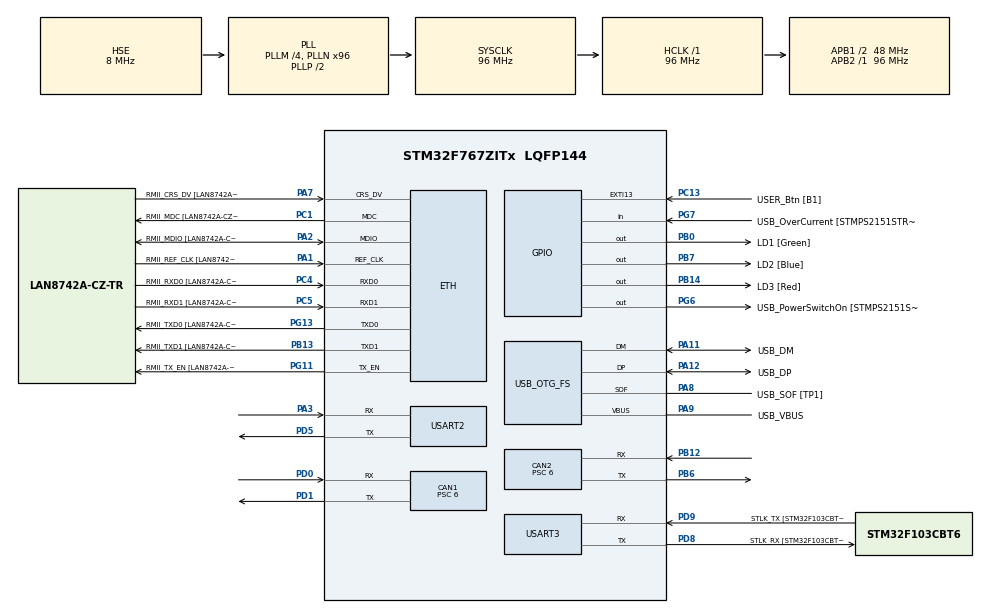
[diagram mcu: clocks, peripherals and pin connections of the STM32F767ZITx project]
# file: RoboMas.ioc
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CAN1.BS1=CAN_BS1_6TQ
CAN1.CalculateBaudRate=1000000
CAN1.CalculateTimeBit=1000
CAN1.CalculateTimeQuantum=125.0
CAN1.Prescaler=6
CAN1.TXFP=ENABLE
CAN2.BS1=CAN_BS1_6TQ
CAN2.CalculateBaudRate=1000000
CAN2.CalculateTimeBit=1000
CAN2.CalculateTimeQuantum=125.0
CAN2.Prescaler=6
CAN2.TXFP=ENABLE
Dma.Request0=USART3_RX
Dma.Request1=USART3_TX
Dma.Request2=USART2_TX
Dma.USART2_TX.2.Direction=DMA_MEMORY_TO_PERIPH
Dma.USART2_TX.2.FIFOMode=DMA_FIFOMODE_DISABLE
Dma.USART2_TX.2.Instance=DMA1_Stream6
Dma.USART2_TX.2.MemDataAlignment=DMA_MDATAALIGN_BYTE
Dma.USART2_TX.2.MemInc=DMA_MINC_ENABLE
Dma.USART2_TX.2.Mode=DMA_NORMAL
Dma.USART2_TX.2.PeriphDataAlignment=DMA_PDATAALIGN_BYTE
Dma.USART2_TX.2.PeriphInc=DMA_PINC_DISABLE
Dma.USART2_TX.2.Priority=DMA_PRIORITY_LOW
Dma.USART3_RX.0.Direction=DMA_PERIPH_TO_MEMORY
Dma.USART3_RX.0.FIFOMode=DMA_FIFOMODE_DISABLE
Dma.USART3_RX.0.Instance=DMA1_Stream1
Dma.USART3_RX.0.MemDataAlignment=DMA_MDATAALIGN_BYTE
Dma.USART3_RX.0.MemInc=DMA_MINC_ENABLE
Dma.USART3_RX.0.Mode=DMA_CIRCULAR
Dma.USART3_RX.0.PeriphDataAlignment=DMA_PDATAALIGN_BYTE
Dma.USART3_RX.0.PeriphInc=DMA_PINC_DISABLE
Dma.USART3_RX.0.Priority=DMA_PRIORITY_VERY_HIGH
Dma.USART3_TX.1.Direction=DMA_MEMORY_TO_PERIPH
Dma.USART3_TX.1.FIFOMode=DMA_FIFOMODE_DISABLE
Dma.USART3_TX.1.Instance=DMA1_Stream3
Dma.USART3_TX.1.MemDataAlignment=DMA_MDATAALIGN_BYTE
Dma.USART3_TX.1.MemInc=DMA_MINC_ENABLE
Dma.USART3_TX.1.Mode=DMA_NORMAL
Dma.USART3_TX.1.PeriphDataAlignment=DMA_PDATAALIGN_BYTE
Dma.USART3_TX.1.PeriphInc=DMA_PINC_DISABLE
Dma.USART3_TX.1.Priority=DMA_PRIORITY_VERY_HIGH
ETH.MediaInterface=HAL_ETH_RMII_MODE
ETH.PHY_Name=LAN8742A_PHY_ADDRESS
ETH.PHY_Value=0
ETH.PhyAddress=0
FREERTOS.Tasks01=defaultTask,24,3000,StartDefaultTask,Default,NULL,Static,defaultTaskBuffer,defaultTaskControlBlock;LEDTask,8,128,StartLEDTask,Default,NULL,Static,LEDTaskBuffer,LEDTaskControlBlock
FREERTOS.Timers01=Timer01,Callback01,osTimerPeriodic,Default,NULL,Static,Timer01ControlBlock
Mcu.Family=STM32F7
Mcu.Name=STM32F767ZITx
Mcu.Package=LQFP144
NVIC.CAN1_RX0_IRQn=true\:5\:0\:false\:false\:true\:true\:true\:true\:true
NVIC.CAN1_RX1_IRQn=true\:5\:0\:false\:false\:true\:true\:true\:true\:true
NVIC.CAN1_TX_IRQn=true\:5\:0\:false\:false\:true\:true\:true\:true\:true
NVIC.CAN2_RX0_IRQn=true\:5\:0\:false\:false\:true\:true\:true\:true\:true
NVIC.CAN2_RX1_IRQn=true\:5\:0\:false\:false\:true\:true\:true\:true\:true
NVIC.CAN2_TX_IRQn=true\:5\:0\:false\:false\:true\:true\:true\:true\:true
NVIC.DMA1_Stream1_IRQn=true\:5\:0\:false\:false\:true\:true\:false\:true\:true
NVIC.DMA1_Stream3_IRQn=true\:5\:0\:false\:false\:true\:true\:false\:true\:true
NVIC.DMA1_Stream6_IRQn=true\:5\:0\:false\:false\:true\:true\:false\:true\:true
NVIC.OTG_FS_IRQn=true\:5\:0\:false\:false\:true\:true\:false\:true\:true
NVIC.PriorityGroup=NVIC_PRIORITYGROUP_4
NVIC.TIM1_UP_TIM10_IRQn=true\:15\:0\:false\:false\:true\:false\:false\:true\:true
NVIC.TimeBase=TIM1_UP_TIM10_IRQn
NVIC.TimeBaseIP=TIM1
NVIC.USART2_IRQn=true\:5\:0\:false\:false\:true\:true\:true\:true\:true
NVIC.USART3_IRQn=true\:5\:0\:false\:false\:true\:true\:true\:true\:true
PA1.GPIO_Label=RMII_REF_CLK [LAN8742A-CZ-TR_REFCLK0]
PA1.Mode=RMII
PA1.Signal=ETH_REF_CLK
PA10.GPIO_Label=USB_ID
PA10.Signal=USB_OTG_FS_ID
PA11.GPIO_Label=USB_DM
PA11.Mode=Device_Only
PA11.Signal=USB_OTG_FS_DM
PA12.GPIO_Label=USB_DP
PA12.Mode=Device_Only
PA12.Signal=USB_OTG_FS_DP
PA13.GPIO_Label=TMS
PA13.Mode=Serial_Wire
PA13.Signal=SYS_JTMS-SWDIO
PA14.GPIO_Label=TCK
PA14.Mode=Serial_Wire
PA14.Signal=SYS_JTCK-SWCLK
PA2.GPIO_Label=RMII_MDIO [LAN8742A-CZ-TR_MDIO]
PA2.Mode=RMII
PA2.Signal=ETH_MDIO
PA3.Mode=Asynchronous
PA3.Signal=USART2_RX
PA7.GPIO_Label=RMII_CRS_DV [LAN8742A-CZ-TR_CRS_DV]
PA7.Mode=RMII
PA7.Signal=ETH_CRS_DV
PA8.GPIO_Label=USB_SOF [TP1]
PA8.Mode=Activate_SOF_FS
PA8.Signal=USB_OTG_FS_SOF
PA9.GPIO_Label=USB_VBUS
PA9.Mode=Activate_VBUS
PA9.Signal=USB_OTG_FS_VBUS
PB0.GPIO_Label=LD1 [Green]
PB0.Signal=GPIO_Output
PB12.Mode=CAN_Activate
PB12.Signal=CAN2_RX
PB13.GPIO_Label=RMII_TXD1 [LAN8742A-CZ-TR_TXD1]
PB13.Mode=RMII
PB13.Signal=ETH_TXD1
PB14.GPIO_Label=LD3 [Red]
PB14.Signal=GPIO_Output
PB3.GPIO_Label=SWO
PB3.Signal=SYS_JTDO-SWO
PB6.Mode=CAN_Activate
PB6.Signal=CAN2_TX
PB7.GPIO_Label=LD2 [Blue]
PB7.Signal=GPIO_Output
PC1.GPIO_Label=RMII_MDC [LAN8742A-CZ-TR_MDC]
PC1.Mode=RMII
PC1.Signal=ETH_MDC
PC13.GPIO_Label=USER_Btn [B1]
PC13.Signal=GPXTI13
PC14/OSC32_IN.Mode=LSE-External-Oscillator
PC14/OSC32_IN.Signal=RCC_OSC32_IN
PC15/OSC32_OUT.Mode=LSE-External-Oscillator
PC15/OSC32_OUT.Signal=RCC_OSC32_OUT
PC4.GPIO_Label=RMII_RXD0 [LAN8742A-CZ-TR_RXD0]
PC4.Mode=RMII
PC4.Signal=ETH_RXD0
PC5.GPIO_Label=RMII_RXD1 [LAN8742A-CZ-TR_RXD1]
PC5.Mode=RMII
PC5.Signal=ETH_RXD1
PD0.Mode=CAN_Activate
PD0.Signal=CAN1_RX
PD1.Mode=CAN_Activate
PD1.Signal=CAN1_TX
PD5.Mode=Asynchronous
PD5.Signal=USART2_TX
PD8.GPIO_Label=STLK_RX [STM32F103CBT6_PA3]
PD8.Mode=Asynchronous
PD8.Signal=USART3_TX
PD9.GPIO_Label=STLK_TX [STM32F103CBT6_PA2]
PD9.Mode=Asynchronous
PD9.Signal=USART3_RX
PG11.GPIO_Label=RMII_TX_EN [LAN8742A-CZ-TR_TXEN]
PG11.Mode=RMII
PG11.Signal=ETH_TX_EN
PG13.GPIO_Label=RMII_TXD0 [LAN8742A-CZ-TR_TXD0]
PG13.Mode=RMII
PG13.Signal=ETH_TXD0
PG6.GPIO_Label=USB_PowerSwitchOn [STMPS2151STR_EN]
PG6.Signal=GPIO_Output
PG7.GPIO_Label=USB_OverCurrent [STMPS2151STR_FAULT]
PG7.Signal=GPIO_Input
PH0/OSC_IN.GPIO_Label=MCO [STM32F103CBT6_PA8]
PH0/OSC_IN.Mode=HSE-External-Oscillator
PH0/OSC_IN.Signal=RCC_OSC_IN
PH1/OSC_OUT.Mode=HSE-External-Oscillator
PH1/OSC_OUT.Signal=RCC_OSC_OUT
ProjectManager.HeapSize=0x200
ProjectManager.StackSize=0x400
ProjectManager.TargetToolchain=STM32CubeIDE
RCC.48MHZClocksFreq_Value=24000000
RCC.AHBFreq_Value=96000000
RCC.APB1CLKDivider=RCC_HCLK_DIV2
RCC.APB1Freq_Value=48000000
RCC.APB1TimFreq_Value=96000000
RCC.APB2Freq_Value=96000000
RCC.APB2TimFreq_Value=96000000
RCC.CortexFreq_Value=96000000
RCC.HCLKFreq_Value=96000000
RCC.HSE_VALUE=8000000
RCC.HSI_VALUE=16000000
RCC.PLLM=4
RCC.PLLMUL=RCC_PLL_MUL9
RCC.PLLN=96
RCC.PLLQ=4
RCC.PRESCALERUSB=RCC_USBCLKSOURCE_PLL_DIV1_5
RCC.SYSCLKFreq_VALUE=96000000
RCC.SYSCLKSource=RCC_SYSCLKSOURCE_PLLCLK
RCC.SYSCLKSourceVirtual=RCC_SYSCLKSOURCE_PLLCLK
RCC.USBFreq_Value=48000000
RCC.VCOOutputFreq_Value=192000000
USART2.VirtualMode-Asynchronous=VM_ASYNC
USART3.VirtualMode-Asynchronous=VM_ASYNC
USB_DEVICE.CLASS_NAME_FS=CDC
USB_DEVICE.VirtualMode-CDC_FS=Cdc
USB_DEVICE.VirtualModeFS=Cdc_FS
USB_OTG_FS.VirtualMode=Device_Only
VP_FREERTOS_VS_CMSIS_V2.Mode=CMSIS_V2
VP_SYS_VS_tim1.Mode=TIM1
VP_USB_DEVICE_VS_USB_DEVICE_CDC_FS.Mode=CDC_FS
board=NUCLEO-F767ZI

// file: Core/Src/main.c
/* USER CODE BEGIN Header */
/**
  ******************************************************************************
  * @file           : main.c
  * @brief          : Main program body
  ******************************************************************************
  * @attention
  *
  * Copyright (c) 2023 STMicroelectronics.
  * All rights reserved.
  *
  * This software is licensed under terms that can be found in the LICENSE file
  * in the root directory of this software component.
  * If no LICENSE file comes with this software, it is provided AS-IS.
  *
  ******************************************************************************
  */
/* USER CODE END Header */
#include "main.h"
#include "cmsis_os.h"
#include "can.h"
#include "dma.h"
#include "eth.h"
#include "usart.h"
#include "usb_device.h"
#include "gpio.h"

/* USER CODE BEGIN Includes */
#include <rmw_microros/rmw_microros.h>
#include "can_utils.h"
#include "stdio.h"
/* USER CODE END Includes */

/* USER CODE BEGIN PD */
#define DISABLE_CAN_WAIT_CONNECT 0
#define DISABLE_C620_WAIT_CONNECT 0
/* USER CODE END PD */

void SystemClock_Config(void);
void MX_FREERTOS_Init(void);
/* USER CODE BEGIN PFP */
void SystemClock_Config(void);
void MX_FREERTOS_Init(void);
/* USER CODE BEGIN PFP */
#ifdef __GNUC__
#define PUTCHAR_PROTOTYPE int __io_putchar(uint8_t ch)
#else
#define PUTCHAR_PROTOTYPE int fputc(int ch, FILE *f)
#endif /* __GNUC__ */

PUTCHAR_PROTOTYPE {
    HAL_UART_Transmit(&huart2, &ch, 1, 500);
    return ch;
}

void HAL_CAN_TxMailbox0CompleteCallback(CAN_HandleTypeDef *hcan){
    C620_WhenTxMailboxCompleteCallbackCalled(hcan);
    CANLib_WhenTxMailbox0_1_2CompleteCallbackCalled(hcan);
}

void HAL_CAN_TxMailbox0AbortCallback(CAN_HandleTypeDef *hcan){
    C620_WhenTxMailboxAbortCallbackCalled(hcan);
    CANLib_WhenTxMailbox0_1_2AbortCallbackCalled(hcan);
}

void HAL_CAN_TxMailbox1CompleteCallback(CAN_HandleTypeDef *hcan){
    C620_WhenTxMailboxCompleteCallbackCalled(hcan);
    CANLib_WhenTxMailbox0_1_2CompleteCallbackCalled(hcan);
}

void HAL_CAN_TxMailbox1AbortCallback(CAN_HandleTypeDef *hcan){
    C620_WhenTxMailboxAbortCallbackCalled(hcan);
    CANLib_WhenTxMailbox0_1_2AbortCallbackCalled(hcan);
}

void HAL_CAN_TxMailbox2CompleteCallback(CAN_HandleTypeDef *hcan){
    C620_WhenTxMailboxCompleteCallbackCalled(hcan);
    CANLib_WhenTxMailbox0_1_2CompleteCallbackCalled(hcan);
}

void HAL_CAN_TxMailbox2AbortCallback(CAN_HandleTypeDef *hcan){
    C620_WhenTxMailboxAbortCallbackCalled(hcan);
    CANLib_WhenTxMailbox0_1_2AbortCallbackCalled(hcan);
}

void HAL_CAN_RxFifo0MsgPendingCallback(CAN_HandleTypeDef *hcan){
    WhenCANRxFifo0MsgPending(hcan, &num_of_devices);
}

void HAL_CAN_RxFifo1MsgPendingCallback(CAN_HandleTypeDef *hcan){
    C620_WhenCANRxFifo1MsgPending(hcan);
}
/* USER CODE END PFP */

int main(void)
{

  /* MCU Configuration--------------------------------------------------------*/

  /* Reset of all peripherals, Initializes the Flash interface and the Systick. */
  HAL_Init();

  /* Configure the system clock */
  SystemClock_Config();

  /* Initialize all configured peripherals */
  MX_GPIO_Init();
  MX_DMA_Init();
  MX_USART3_UART_Init();
  MX_ETH_Init();
  MX_CAN1_Init();
  MX_CAN2_Init();
  MX_USART2_UART_Init();
  /* USER CODE BEGIN 2 */
  setbuf(stdout, NULL);
  setbuf(stderr, NULL);

  /*
    * ===== CANLib Settings =====
    * */
   HAL_GPIO_TogglePin(GPIOB, GPIO_PIN_14);  // LD3 (RED) ON
   printf("Start Initializing CAN System:Begin\n\r");

   num_of_devices.mcmd3 = NUM_OF_MCMD3; //0
//   num_of_devices.mcmd4 = 0;
   num_of_devices.mcmd4 = NUM_OF_MCMD4;  // TODO: こっちが正しい -> 0
   num_of_devices.air = 1;  // TODO: 1にする

   CAN_SystemInit(&hcan2); // F7のCAN通信のinit
   printf("Start Initializing CAN System:End\n\r");
   if(!DISABLE_CAN_WAIT_CONNECT)CAN_WaitConnect(&num_of_devices);
   HAL_GPIO_TogglePin(GPIOB, GPIO_PIN_7);  // LD2 (Blue) ON

//
// MCMDは2搭載
//
   if(NUM_OF_MCMD3 != 0) {
       // 発射1
       mcmd_handlers[0].device.node_type = NODE_MCMD3;
       mcmd_handlers[0].device.node_id = 1;
       mcmd_handlers[0].device.device_num = 0;
       mcmd_handlers[0].ctrl_param.ctrl_type = MCMD_CTRL_VEL;
       mcmd_handlers[0].ctrl_param.feedback = MCMD_FB_ENABLE;
       mcmd_handlers[0].fb_type = MCMD_FB_POS;
       mcmd_handlers[0].limit_sw_type = LIMIT_SW_NO;
       mcmd_handlers[0].enc_dir = MCMD_DIR_FW;
       mcmd_handlers[0].rot_dir = MCMD_DIR_FW;
       mcmd_handlers[0].calib = CALIBRATION_DISABLE;
       mcmd_handlers[0].ctrl_param.gravity_compensation = GRAVITY_COMPENSATION_DISABLE;
       mcmd_handlers[0].calib_duty = -0.6f;
       mcmd_handlers[0].quant_per_unit = 90.0f / 1024.0f;
       mcmd_handlers[0].ctrl_param.accel_limit = ACCEL_LIMIT_ENABLE;
       mcmd_handlers[0].ctrl_param.accel_limit_size = 5.0f;
       mcmd_handlers[0].ctrl_param.PID_param.kp = 0.12f;

       MCMD_init(&mcmd_handlers[0]);
//       MCMD_Calib(&mcmd_handlers[0]);  // キャリブレーションを行う
//       HAL_Delay(3000);
       MCMD_SetTarget(&mcmd_handlers[0], 0.0f);  // 目標値(0.0)を設定
       // TODO: 稼働限界は226mm
       MCMD_Control_Enable(&mcmd_handlers[0]);  // 制御開始

       //発射2
       mcmd_handlers[1].device.node_type = NODE_MCMD3;
       mcmd_handlers[1].device.node_id = 1;
       mcmd_handlers[1].device.device_num = 1;
       mcmd_handlers[1].ctrl_param.ctrl_type = MCMD_CTRL_VEL;
       mcmd_handlers[1].ctrl_param.feedback = MCMD_FB_ENABLE;
       mcmd_handlers[1].fb_type = MCMD_FB_POS;
       mcmd_handlers[1].limit_sw_type = LIMIT_SW_NO;
       mcmd_handlers[1].enc_dir = MCMD_DIR_FW;
       mcmd_handlers[1].rot_dir = MCMD_DIR_FW;
       mcmd_handlers[1].calib = CALIBRATION_DISABLE;
       mcmd_handlers[1].ctrl_param.gravity_compensation = GRAVITY_COMPENSATION_DISABLE;
       mcmd_handlers[1].calib_duty = -0.6f;
       mcmd_handlers[1].quant_per_unit = 90.0f / 1024.0f;
       mcmd_handlers[1].ctrl_param.accel_limit = ACCEL_LIMIT_ENABLE;
       mcmd_handlers[1].ctrl_param.accel_limit_size = 5.0f;
       mcmd_handlers[1].ctrl_param.PID_param.kp = 0.12f;

       MCMD_init(&mcmd_handlers[1]);
//       MCMD_Calib(&mcmd_handlers[1]);  // キャリブレーションを行う
//       HAL_Delay(3000);
       MCMD_SetTarget(&mcmd_handlers[1], 0.0f);  // 目標値(0.0)を設定
       // TODO: 稼働限界は226mm
       MCMD_Control_Enable(&mcmd_handlers[1]);  // 制御開始

       //発射3
       mcmd_handlers[2].device.node_type = NODE_MCMD3;
       mcmd_handlers[2].device.node_id = 2;
       mcmd_handlers[2].device.device_num = 0;
       mcmd_handlers[2].ctrl_param.ctrl_type = MCMD_CTRL_POS;
       mcmd_handlers[2].ctrl_param.feedback = MCMD_FB_ENABLE;
       mcmd_handlers[2].fb_type = MCMD_FB_POS;
       mcmd_handlers[2].limit_sw_type = LIMIT_SW_NO;
       mcmd_handlers[2].enc_dir = MCMD_DIR_FW;
       mcmd_handlers[2].rot_dir = MCMD_DIR_FW;
       mcmd_handlers[2].calib = CALIBRATION_DISABLE;
       mcmd_handlers[2].ctrl_param.gravity_compensation = GRAVITY_COMPENSATION_DISABLE;
       mcmd_handlers[2].calib_duty = -0.6f;
       mcmd_handlers[2].quant_per_unit = 90.0f / 1024.0f;
       mcmd_handlers[2].ctrl_param.accel_limit = ACCEL_LIMIT_ENABLE;
       mcmd_handlers[2].ctrl_param.accel_limit_size = 5.0f;
       mcmd_handlers[2].ctrl_param.PID_param.kp = 0.12f;

       MCMD_init(&mcmd_handlers[2]);
//       MCMD_Calib(&mcmd_handlers[2]);  // キャリブレーションを行う
//       HAL_Delay(3000);
       MCMD_SetTarget(&mcmd_handlers[2], 0.0f);  // 目標値(0.0)を設定
       // TODO: 稼働限界は226mm
       MCMD_Control_Enable(&mcmd_handlers[2]);  // 制御開始

       //
       //turntable
       //

       mcmd_handlers[3].device.node_type = NODE_MCMD3;
       mcmd_handlers[3].device.node_id = 2;
       mcmd_handlers[3].device.device_num = 1;
       mcmd_handlers[3].ctrl_param.ctrl_type = MCMD_CTRL_POS;
       mcmd_handlers[3].ctrl_param.feedback = MCMD_FB_ENABLE;
       mcmd_handlers[3].fb_type = MCMD_FB_POS;
       mcmd_handlers[3].limit_sw_type = LIMIT_SW_NO;
       mcmd_handlers[3].enc_dir = MCMD_DIR_FW;
       mcmd_handlers[3].rot_dir = MCMD_DIR_FW;
       mcmd_handlers[3].calib = CALIBRATION_ENABLE;
       mcmd_handlers[3].ctrl_param.gravity_compensation = GRAVITY_COMPENSATION_DISABLE;
       mcmd_handlers[3].calib_duty = -0.6f;
       mcmd_handlers[3].quant_per_unit = 90.0f / 1024.0f;
       mcmd_handlers[3].ctrl_param.accel_limit = ACCEL_LIMIT_ENABLE;
       mcmd_handlers[3].ctrl_param.accel_limit_size = 5.0f;
       mcmd_handlers[3].ctrl_param.PID_param.kp = 0.12f;

       MCMD_init(&mcmd_handlers[3]);
       MCMD_Calib(&mcmd_handlers[3]);  // キャリブレーションを行う
       HAL_Delay(3000);
       MCMD_SetTarget(&mcmd_handlers[3], 0.0f);  // 目標値(0.0)を設定
       // TODO: 稼働限界は226mm
       MCMD_Control_Enable(&mcmd_handlers[3]);  // 制御開始

       //
      //z_rotation
       //

       mcmd_handlers[4].device.node_type = NODE_MCMD3;
       mcmd_handlers[4].device.node_id = 3;
       mcmd_handlers[4].device.device_num = 0;
       mcmd_handlers[4].ctrl_param.ctrl_type = MCMD_CTRL_POS;
       mcmd_handlers[4].ctrl_param.feedback = MCMD_FB_ENABLE;
       mcmd_handlers[4].fb_type = MCMD_FB_POS;
       mcmd_handlers[4].limit_sw_type = LIMIT_SW_NO;
       mcmd_handlers[4].enc_dir = MCMD_DIR_FW;
       mcmd_handlers[4].rot_dir = MCMD_DIR_FW;
       mcmd_handlers[4].calib = CALIBRATION_ENABLE;
       mcmd_handlers[4].ctrl_param.gravity_compensation = GRAVITY_COMPENSATION_DISABLE;
       mcmd_handlers[4].calib_duty = -0.6f;
       mcmd_handlers[4].quant_per_unit = 90.0f / 1024.0f;
       mcmd_handlers[4].ctrl_param.accel_limit = ACCEL_LIMIT_ENABLE;
       mcmd_handlers[4].ctrl_param.accel_limit_size = 5.0f;
       mcmd_handlers[4].ctrl_param.PID_param.kp = 0.12f;

       MCMD_init(&mcmd_handlers[4]);
       MCMD_Calib(&mcmd_handlers[4]);  // キャリブレーションを行う
       HAL_Delay(3000);
       MCMD_SetTarget(&mcmd_handlers[4], 0.0f);  // 目標値(0.0)を設定
       // TODO: 稼働限界は226mm
       MCMD_Control_Enable(&mcmd_handlers[4]);  // 制御開始

   }

   // air cylinder

   if(NUM_OF_AIR != 0) {
       air_devices[0].node_type = NODE_AIR;
       air_devices[0].node_id = 0;
       air_devices[0].device_num = PORT_1;

//       air_devices[1].node_type = NODE_AIR;
//       air_devices[1].node_id = 1;
//       air_devices[1].device_num = PORT_1;

       for (uint8_t j = 0; j < 1; j++) {
           for (uint8_t i = 0; i <= (uint8_t) PORT_8; i++) {
               air_devices[j].device_num = i;
               AirCylinder_Init(&air_devices[j], AIR_OFF);
           }
       }
       air_devices[0].device_num = PORT_1;
 //      air_devices[1].device_num = PORT_1;
       AirCylinder_SendOutput(&air_devices[0], AIR_ON);
 //      AirCylinder_SendOutput(&air_devices[1], AIR_OFF);
   }

   HAL_GPIO_TogglePin(GPIOB, GPIO_PIN_0);  // LD1 (GREEN) ON
   Init_C620_CAN_System(&hcan1);  // Init CAN System for C620
   C620_Init(c620_dev_info_global, num_of_c620);

   c620_dev_info_global[0].device_id = 1;  // 1スタートな事に注意
   c620_dev_info_global[0].ctrl_param.accel_limit = C620_ACCEL_LIMIT_ENABLE;
//    c620_dev_info_global[0].ctrl_param.use_internal_offset = C620_USE_OFFSET_POS_CALIB;
   c620_dev_info_global[0].ctrl_param.use_internal_offset = C620_USE_OFFSET_POS_INTERNAL;
   c620_dev_info_global[0].ctrl_param.ctrl_type = C620_CTRL_POS;
   c620_dev_info_global[0].ctrl_param.accel_limit_size = 15.0f;
//    c620_dev_info_global[0].ctrl_param.accel_limit_size = 5.0f;
   c620_dev_info_global[0].ctrl_param.quant_per_rot = 1.0f/19.0f / 3.0f * 3.141592f * 2.0f;  //M3508は19:1
   c620_dev_info_global[0].ctrl_param.rotation = C620_ROT_ACW;

   c620_dev_info_global[0].ctrl_param.pid_vel.kp = 4.5f;  // 位置制御の場合はpid_velに速度制御用のgainを設定する
   c620_dev_info_global[0].ctrl_param.pid_vel.ki = 0.0f;
   c620_dev_info_global[0].ctrl_param.pid_vel.kd = 0.0f;
   c620_dev_info_global[0].ctrl_param.pid_vel.kff = 0.0f;

//    c620_dev_info_global[0].ctrl_param.pid.kp = 10.0f;  // 位置制御用
   c620_dev_info_global[0].ctrl_param.pid.kp = 12.3f;  // 位置制御用
   c620_dev_info_global[0].ctrl_param.pid.ki = 0.16f;
//    c620_dev_info_global[0].ctrl_param.pid.ki = 0.0f;
   c620_dev_info_global[0].ctrl_param.pid.kd = 0.0f;
   c620_dev_info_global[0].ctrl_param.pid.kff = 0.0f;

   c620_dev_info_global[1].device_id = 2;
   c620_dev_info_global[1].ctrl_param.accel_limit = C620_ACCEL_LIMIT_ENABLE;
   c620_dev_info_global[1].ctrl_param.use_internal_offset = C620_USE_OFFSET_POS_INTERNAL;
   c620_dev_info_global[1].ctrl_param.ctrl_type = C620_CTRL_POS;
   c620_dev_info_global[1].ctrl_param.accel_limit_size = 1500.0f;
//    c620_dev_info_global[1].ctrl_param.accel_limit_size = 800.0f;
   c620_dev_info_global[1].ctrl_param.quant_per_rot = 1.0f/19.0f * 300.0f;  //M3508は19:1
   c620_dev_info_global[1].ctrl_param.rotation = C620_ROT_CW;

//    c620_dev_info_global[1].ctrl_param.pid_vel.kp = 0.1f;  // 位置制御の場合はpid_velに速度制御用のgainを設定する  // TODO: これまでのgain
   c620_dev_info_global[1].ctrl_param.pid_vel.kp = 0.15f;  // 位置制御の場合はpid_velに速度制御用のgainを設定する
   c620_dev_info_global[1].ctrl_param.pid_vel.ki = 0.0f;
   c620_dev_info_global[1].ctrl_param.pid_vel.kd = 0.0f;
   c620_dev_info_global[1].ctrl_param.pid_vel.kff = 0.0f;

   c620_dev_info_global[1].ctrl_param.pid.kp = 10.0f;  // 位置制御用
//    c620_dev_info_global[1].ctrl_param.pid.kp = 9.0f;  // 位置制御用
   c620_dev_info_global[1].ctrl_param.pid.ki = 0.05f;
//    c620_dev_info_global[1].ctrl_param.pid.ki = 0.1f;
   c620_dev_info_global[1].ctrl_param.pid.kd = 0.0f;
   c620_dev_info_global[1].ctrl_param.pid.kff = 0.0f;

   HAL_GPIO_TogglePin(GPIOB, GPIO_PIN_0);  // LD1 (GREEN) ON
   Init_C620_CAN_System(&hcan1);  // Init CAN System for C620
   C620_Init(c620_dev_info_global, num_of_c620);

   c620_dev_info_global[2].device_id = 3;  // 1スタートな事に注意
   c620_dev_info_global[2].ctrl_param.accel_limit = C620_ACCEL_LIMIT_ENABLE;
//    c620_dev_info_global[2].ctrl_param.use_internal_offset = C620_USE_OFFSET_POS_CALIB;
   c620_dev_info_global[2].ctrl_param.use_internal_offset = C620_USE_OFFSET_POS_INTERNAL;
   c620_dev_info_global[2].ctrl_param.ctrl_type = C620_CTRL_POS;
   c620_dev_info_global[2].ctrl_param.accel_limit_size = 15.0f;
//    c620_dev_info_global[2].ctrl_param.accel_limit_size = 5.0f;
   c620_dev_info_global[2].ctrl_param.quant_per_rot = 1.0f/19.0f / 3.0f * 3.141592f * 2.0f;  //M3508は19:1
   c620_dev_info_global[2].ctrl_param.rotation = C620_ROT_ACW;

   c620_dev_info_global[2].ctrl_param.pid_vel.kp = 4.5f;  // 位置制御の場合はpid_velに速度制御用のgainを設定する
   c620_dev_info_global[2].ctrl_param.pid_vel.ki = 0.0f;
   c620_dev_info_global[2].ctrl_param.pid_vel.kd = 0.0f;
   c620_dev_info_global[2].ctrl_param.pid_vel.kff = 0.0f;

//    c620_dev_info_global[2].ctrl_param.pid.kp = 10.0f;  // 位置制御用
   c620_dev_info_global[2].ctrl_param.pid.kp = 12.3f;  // 位置制御用
   c620_dev_info_global[2].ctrl_param.pid.ki = 0.16f;
//    c620_dev_info_global[2].ctrl_param.pid.ki = 0.0f;
   c620_dev_info_global[2].ctrl_param.pid.kd = 0.0f;
   c620_dev_info_global[2].ctrl_param.pid.kff = 0.0f;

   c620_dev_info_global[3].device_id = 4;
   c620_dev_info_global[3].ctrl_param.accel_limit = C620_ACCEL_LIMIT_ENABLE;
   c620_dev_info_global[3].ctrl_param.use_internal_offset = C620_USE_OFFSET_POS_INTERNAL;
   c620_dev_info_global[3].ctrl_param.ctrl_type = C620_CTRL_POS;
   c620_dev_info_global[3].ctrl_param.accel_limit_size = 1500.0f;
//    c620_dev_info_global[3].ctrl_param.accel_limit_size = 800.0f;
   c620_dev_info_global[3].ctrl_param.quant_per_rot = 1.0f/19.0f * 300.0f;  //M3508は19:1
   c620_dev_info_global[3].ctrl_param.rotation = C620_ROT_CW;

//    c620_dev_info_global[3].ctrl_param.pid_vel.kp = 0.1f;  // 位置制御の場合はpid_velに速度制御用のgainを設定する  // TODO: これまでのgain
   c620_dev_info_global[3].ctrl_param.pid_vel.kp = 0.15f;  // 位置制御の場合はpid_velに速度制御用のgainを設定する
   c620_dev_info_global[3].ctrl_param.pid_vel.ki = 0.0f;
   c620_dev_info_global[3].ctrl_param.pid_vel.kd = 0.0f;
   c620_dev_info_global[3].ctrl_param.pid_vel.kff = 0.0f;

   c620_dev_info_global[3].ctrl_param.pid.kp = 10.0f;  // 位置制御用
//    c620_dev_info_global[3].ctrl_param.pid.kp = 9.0f;  // 位置制御用
   c620_dev_info_global[3].ctrl_param.pid.ki = 0.05f;
//    c620_dev_info_global[3].ctrl_param.pid.ki = 0.1f;
   c620_dev_info_global[3].ctrl_param.pid.kd = 0.0f;
   c620_dev_info_global[3].ctrl_param.pid.kff = 0.0f;

   //TODO: 足回りの統一
//   for(int i=0;i<num_of_c620;i++){
//   c620_dev_info_global[i].device_id = i+1;  // 1スタートな事に注意
//   c620_dev_info_global[i].ctrl_param.accel_limit = C620_ACCEL_LIMIT_ENABLE;
////    c620_dev_info_global[i].ctrl_param.use_internal_offset = C620_USE_OFFSET_POS_CALIB;
//   c620_dev_info_global[i].ctrl_param.use_internal_offset = C620_USE_OFFSET_POS_INTERNAL;
//   c620_dev_info_global[i].ctrl_param.ctrl_type = C620_CTRL_POS;
//   c620_dev_info_global[i].ctrl_param.accel_limit_size = 15.0f;
//   c620_dev_info_global[i].ctrl_param.quant_per_rot = 1.0f/19.0f / 3.0f * 3.141592f * 2.0f;  //M3508は19:1
//   c620_dev_info_global[i].ctrl_param.rotation = C620_ROT_ACW;
//
//   c620_dev_info_global[i].ctrl_param.pid_vel.kp = 4.5f;  // 位置制御の場合はpid_velに速度制御用のgainを設定する
//   c620_dev_info_global[i].ctrl_param.pid_vel.ki = 0.0f;
//   c620_dev_info_global[i].ctrl_param.pid_vel.kd = 0.0f;
//   c620_dev_info_global[i].ctrl_param.pid_vel.kff = 0.0f;
//
//   c620_dev_info_global[i].ctrl_param.pid.kp = 12.3f;  // 位置制御用
//   c620_dev_info_global[i].ctrl_param.pid.ki = 0.16f;
//   c620_dev_info_global[i].ctrl_param.pid.kd = 0.0f;
//   c620_dev_info_global[i].ctrl_param.pid.kff = 0.0f;
//
//   }

   for(int i=0; i<num_of_c620; i++)C620_SetTarget(&c620_dev_info_global[i], 0.0f);
   if(!DISABLE_C620_WAIT_CONNECT)C620_WaitForConnect(c620_dev_info_global, num_of_c620);
//    for(int i=0; i<num_of_c620; i++){
//        C620_Calibration(&c620_dev_info_global[i], -2.0f, SWITCH_NO, GPIOG, GPIO_PIN_1, &hcan1);
//        C620_ControlEnable(&(c620_dev_info_global[i]));
//    }
   for(int i=0; i<num_of_c620; i++)C620_ControlEnable(&(c620_dev_info_global[i]));

   HAL_GPIO_TogglePin(GPIOB, GPIO_PIN_14);  // LD3 (RED) -> OFF
   HAL_GPIO_TogglePin(GPIOB, GPIO_PIN_0);  // LD1 (GREEN) -> OFF
  /* USER CODE END 2 */

  /* Init scheduler */
  osKernelInitialize();  /* Call init function for freertos objects (in freertos.c) */
  MX_FREERTOS_Init();

  /* Start scheduler */
  osKernelStart();

  /* We should never get here as control is now taken by the scheduler */
  /* Infinite loop */
  while (1)
  {

  }
}

void SystemClock_Config(void)
{
  RCC_OscInitTypeDef RCC_OscInitStruct = {0};
  RCC_ClkInitTypeDef RCC_ClkInitStruct = {0};

  /** Configure LSE Drive Capability
  */
  HAL_PWR_EnableBkUpAccess();

  /** Configure the main internal regulator output voltage
  */
  __HAL_RCC_PWR_CLK_ENABLE();
  __HAL_PWR_VOLTAGESCALING_CONFIG(PWR_REGULATOR_VOLTAGE_SCALE3);

  /** Initializes the RCC Oscillators according to the specified parameters
  * in the RCC_OscInitTypeDef structure.
  */
  RCC_OscInitStruct.OscillatorType = RCC_OSCILLATORTYPE_HSE;
  RCC_OscInitStruct.HSEState = RCC_HSE_ON;
  RCC_OscInitStruct.PLL.PLLState = RCC_PLL_ON;
  RCC_OscInitStruct.PLL.PLLSource = RCC_PLLSOURCE_HSE;
  RCC_OscInitStruct.PLL.PLLM = 4;
  RCC_OscInitStruct.PLL.PLLN = 96;
  RCC_OscInitStruct.PLL.PLLP = RCC_PLLP_DIV2;
  RCC_OscInitStruct.PLL.PLLQ = 4;
  RCC_OscInitStruct.PLL.PLLR = 2;
  if (HAL_RCC_OscConfig(&RCC_OscInitStruct) != HAL_OK)
  {
    Error_Handler();
  }

  /** Activate the Over-Drive mode
  */
  if (HAL_PWREx_EnableOverDrive() != HAL_OK)
  {
    Error_Handler();
  }

  /** Initializes the CPU, AHB and APB buses clocks
  */
  RCC_ClkInitStruct.ClockType = RCC_CLOCKTYPE_HCLK|RCC_CLOCKTYPE_SYSCLK
                              |RCC_CLOCKTYPE_PCLK1|RCC_CLOCKTYPE_PCLK2;
  RCC_ClkInitStruct.SYSCLKSource = RCC_SYSCLKSOURCE_PLLCLK;
  RCC_ClkInitStruct.AHBCLKDivider = RCC_SYSCLK_DIV1;
  RCC_ClkInitStruct.APB1CLKDivider = RCC_HCLK_DIV2;
  RCC_ClkInitStruct.APB2CLKDivider = RCC_HCLK_DIV1;

  if (HAL_RCC_ClockConfig(&RCC_ClkInitStruct, FLASH_LATENCY_3) != HAL_OK)
  {
    Error_Handler();
  }
}

void HAL_TIM_PeriodElapsedCallback(TIM_HandleTypeDef *htim)
{
  if (htim->Instance == TIM1) {
    HAL_IncTick();
  }
}

void Error_Handler(void)
{
  __disable_irq();
  while (1)
  {
  }
}

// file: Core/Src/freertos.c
/* USER CODE BEGIN Header */
/**
  ******************************************************************************
  * File Name          : freertos.c
  * Description        : Code for freertos applications
  ******************************************************************************
  * @attention
  *
  * Copyright (c) 2023 STMicroelectronics.
  * All rights reserved.
  *
  * This software is licensed under terms that can be found in the LICENSE file
  * in the root directory of this software component.
  * If no LICENSE file comes with this software, it is provided AS-IS.
  *
  ******************************************************************************
  */
/* USER CODE END Header */

#include "FreeRTOS.h"
#include "task.h"
#include "main.h"
#include "cmsis_os.h"

/* USER CODE BEGIN Includes */
#include <rcl/rcl.h>
#include <rcl/error_handling.h>
#include <rosidl_runtime_c/primitives_sequence_functions.h>

#include <rclc/rclc.h>
#include <rclc/executor.h>
#include <uxr/client/transport.h>
#include <rmw_microxrcedds_c/config.h>
#include <rmw_microros/rmw_microros.h>
#include <std_msgs/msg/float64.h>
#include <std_msgs/msg/int32_multi_array.h>
#include <geometry_msgs/msg/twist.h>
#include <geometry_msgs/msg/quaternion.h>
#include <actuator_status_msg/msg/three_bools.h>
#include <usart.h>

#include "can_utils.h"
#include "can.h"

#include "math.h"
/* USER CODE END Includes */

typedef StaticTask_t osStaticThreadDef_t;
typedef StaticTimer_t osStaticTimerDef_t;

/* USER CODE BEGIN PD */
#define RCCHECK(fn) { rcl_ret_t temp_rc = fn; if((temp_rc != RCL_RET_OK)){printf("Failed status on line %d: %d. Aborting.\n",__LINE__,(int)temp_rc);vTaskDelete(NULL);}}
#define RCSOFTCHECK(fn) { rcl_ret_t temp_rc = fn; if((temp_rc != RCL_RET_OK)){printf("Failed status on line %d: %d. Continuing.\n",__LINE__,(int)temp_rc);}}

bool cubemx_transport_open(struct uxrCustomTransport * transport);
bool cubemx_transport_close(struct uxrCustomTransport * transport);
size_t cubemx_transport_write(struct uxrCustomTransport* transport, const uint8_t * buf, size_t len, uint8_t * err);
size_t cubemx_transport_read(struct uxrCustomTransport* transport, uint8_t* buf, size_t len, int timeout, uint8_t* err);

void * microros_allocate(size_t size, void * state);
void microros_deallocate(void * pointer, void * state);
void * microros_reallocate(void * pointer, size_t size, void * state);
void * microros_zero_allocate(size_t number_of_elements, size_t size_of_element, void * state);
/* USER CODE END PD */

/* USER CODE BEGIN PM */

rcl_publisher_t publisher_enc1,publisher_enc2;
/* USER CODE END PM */

/* Definitions for defaultTask */
osThreadId_t defaultTaskHandle;
uint32_t defaultTaskBuffer[ 3000 ];
osStaticThreadDef_t defaultTaskControlBlock;
const osThreadAttr_t defaultTask_attributes = {
  .name = "defaultTask",
  .cb_mem = &defaultTaskControlBlock,
  .cb_size = sizeof(defaultTaskControlBlock),
  .stack_mem = &defaultTaskBuffer[0],
  .stack_size = sizeof(defaultTaskBuffer),
  .priority = (osPriority_t) osPriorityNormal,
};
/* Definitions for LEDTask */
osThreadId_t LEDTaskHandle;
uint32_t LEDTaskBuffer[ 128 ];
osStaticThreadDef_t LEDTaskControlBlock;
const osThreadAttr_t LEDTask_attributes = {
  .name = "LEDTask",
  .cb_mem = &LEDTaskControlBlock,
  .cb_size = sizeof(LEDTaskControlBlock),
  .stack_mem = &LEDTaskBuffer[0],
  .stack_size = sizeof(LEDTaskBuffer),
  .priority = (osPriority_t) osPriorityLow,
};
/* Definitions for Timer01 */
osTimerId_t Timer01Handle;
osStaticTimerDef_t Timer01ControlBlock;
const osTimerAttr_t Timer01_attributes = {
  .name = "Timer01",
  .cb_mem = &Timer01ControlBlock,
  .cb_size = sizeof(Timer01ControlBlock),
};

/* USER CODE BEGIN FunctionPrototypes */

//TODO:publisher callback の必要性の検討

//void pub_timer_callback_enc1(rcl_timer_t * timer, int64_t last_call_time){
//    RCLC_UNUSED(last_call_time);
//    std_msgs__msg__Float64 data_msg;
//
//    if (timer != NULL) {
//
//
//
//    }
//}
//
//void pub_timer_callback_enc2(rcl_timer_t * timer, int64_t last_call_time){
//    RCLC_UNUSED(last_call_time);
//    std_msgs__msg__Float64 data_msg;
//
//    if (timer != NULL) {
//
//
//
//    }
//}
//
//void pub_timer_callback_line(rcl_timer_t * timer, int64_t last_call_time){
//    RCLC_UNUSED(last_call_time);
//    geometry_msgs__msg__Quaternion line_sensor;
//
//    if (timer != NULL) {
//
//
//
//    }
//}

void subscription_callback_air(const void * msgin)
{
	 // Cast received message to used type
	  const actuator_status_msg__msg__ThreeBools * status = (const actuator_status_msg__msg__ThreeBools *)msgin;
	  static Air_PortStatus_Typedef air_status[3];

	  air_status[0] = (status->c) ? AIR_ON : AIR_OFF;
	  air_status[1] = (status->p) ? AIR_ON : AIR_OFF;
	  air_status[2] = (status->l) ? AIR_ON : AIR_OFF;

	  if(NUM_OF_AIR>0){
		  for(int i=0;i<NUM_OF_AIR;i++){
			  for(int j=0;j<3;j++){       //TODO: j<3は手動
				  air_devices[i].device_num = j;
				  AirCylinder_SendOutput(&air_devices[i], air_status[i]);
			  }
		  }
	  }
}

void subscription_callback_mcmd(const void * msgin)
{
	 // Cast received message to used type
	  const std_msgs__msg__Int32MultiArray * rotvels = (const std_msgs__msg__Int32MultiArray *)msgin;
	  static int rpm[3];	//発射用モーター３つ

	  //rpm =  (float)(rotvels->data);

	  for(int i=0;i<3;i++){
	//	  rpm[i] = (float)(rotvels->data[i]);
		  MCMD_SetTarget(&(mcmd_handlers[i]), rpm[i]);
	  }

}

void subscription_callback_table(const void * msgin)
{
	 // Cast received message to used type
	  const std_msgs__msg__Float64 * table = (const std_msgs__msg__Float64 *)msgin;
	  static float table_pos;
	  table_pos = table->data;

	  MCMD_SetTarget(&(mcmd_handlers[3]), table_pos);

}

void subscription_callback_z(const void * msgin)
{
	 // Cast received message to used type
	  const std_msgs__msg__Float64 * zrot = (const std_msgs__msg__Float64 *)msgin;
	  static float zrot_rad;
	  zrot_rad = zrot->data;

	  MCMD_SetTarget(&(mcmd_handlers[4]), zrot_rad);

}

void subscription_callback(const void * msgin)
{
	 // Cast received message to used type
	  const geometry_msgs__msg__Twist * twist = (const geometry_msgs__msg__Twist *)msgin;
	  static float _mros_target[4]; //TODO: 4は手打ち
	  const float R = 100.0f; //中心からオムニまでの距離
	  const float r = 5.0f;  //タイヤの半径
	  float theta = 0.0f; //TODO fbから持ってくる

	  for(int i=0;i<4;i++){
//		  _mros_target[i] = ((-sinf(theta+(M_PI*(float)i))*twist.linear.x)+(cosf(theta+(M_PI*(float)i))*twist.linear.y)+R*twist.angular.z)/r;
		  C620_SetTarget(&c620_dev_info_global[i], _mros_target[i]);
	  }

}

//subscriber template

//void subscription_callback(const void * msgin)
//{
//	 // Cast received message to used type
//	  const std_msgs__msg__Int32MultiArray * rotvels = (const std_msgs__msg__Int32MultiArray *)msgin;
//
//
//
//}

/* USER CODE END FunctionPrototypes */

void StartDefaultTask(void *argument);
void StartLEDTask(void *argument);
void Callback01(void *argument);

extern void MX_USB_DEVICE_Init(void);
void MX_FREERTOS_Init(void); /* (MISRA C 2004 rule 8.1) */

void MX_FREERTOS_Init(void) {

  /* Create the timer(s) */
  /* creation of Timer01 */
  Timer01Handle = osTimerNew(Callback01, osTimerPeriodic, NULL, &Timer01_attributes);

  /* Create the thread(s) */
  /* creation of defaultTask */
  defaultTaskHandle = osThreadNew(StartDefaultTask, NULL, &defaultTask_attributes);

  /* creation of LEDTask */
  LEDTaskHandle = osThreadNew(StartLEDTask, NULL, &LEDTask_attributes);

}

void StartDefaultTask(void *argument)
{
  /* init code for USB_DEVICE */
  MX_USB_DEVICE_Init();
  for(;;)
  {
    osDelay(1);
  }
}

void StartLEDTask(void *argument)
{
  for(;;)
  {
    osDelay(1);
  }
}

/* Callback01 function */
void Callback01(void *argument)
{
}
